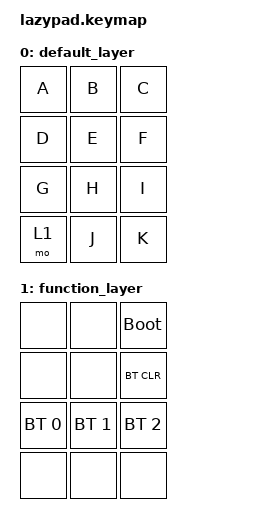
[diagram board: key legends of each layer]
#include <behaviors.dtsi>
#include <dt-bindings/zmk/keys.h>
#include <dt-bindings/zmk/bt.h>

/ {
    keymap {
        compatible = "zmk,keymap";

        default_layer {
            bindings = <
                &kp A      &kp B      &kp C
                &kp D      &kp E      &kp F
                &kp G      &kp H      &kp I
                &mo 1      &kp J      &kp K
            >;
        };

        function_layer {
            bindings = <
                &none      &none      &bootloader
                &none      &none      &bt BT_CLR
                &bt BT_SEL 0  &bt BT_SEL 1  &bt BT_SEL 2
                &none      &none      &none
            >;
        };
    };
};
